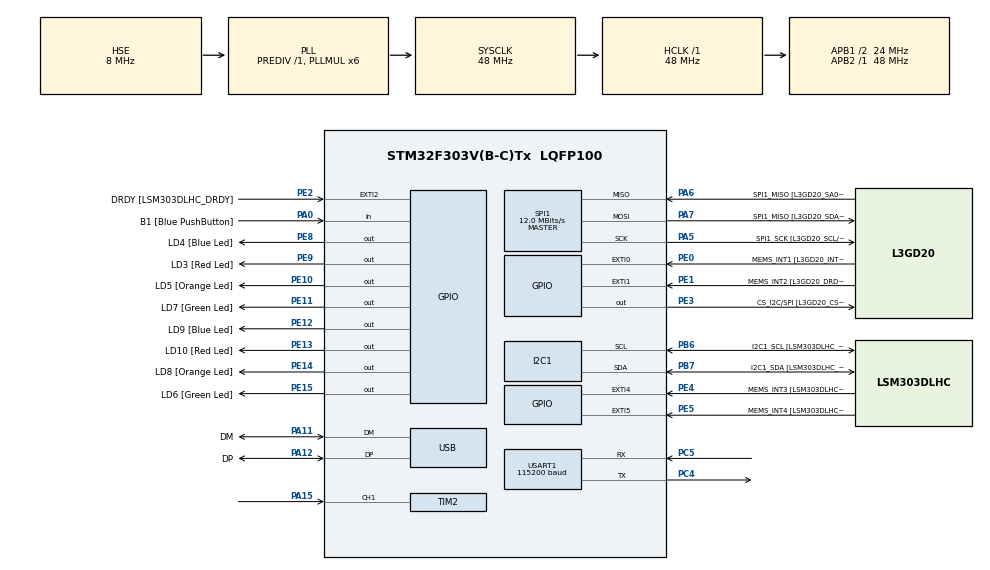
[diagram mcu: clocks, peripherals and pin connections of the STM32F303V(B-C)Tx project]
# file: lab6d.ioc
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I2C1.Timing=0x2000090E
I2C1.Timing-I2C=0x2000090E
Mcu.Family=STM32F3
Mcu.Name=STM32F303V(B-C)Tx
Mcu.Package=LQFP100
NVIC.PriorityGroup=NVIC_PRIORITYGROUP_0
NVIC.TIM2_IRQn=true\:0\:0\:false\:false\:true\:true\:true\:true
PA0.GPIO_Label=B1 [Blue PushButton]
PA0.Signal=GPIO_Input
PA11.GPIO_Label=DM
PA11.Mode=Device
PA11.Signal=USB_DM
PA12.GPIO_Label=DP
PA12.Mode=Device
PA12.Signal=USB_DP
PA13.GPIO_Label=SWDIO
PA13.Mode=Serial_Wire
PA13.Signal=SYS_JTMS-SWDIO
PA14.GPIO_Label=SWCLK
PA14.Mode=Serial_Wire
PA14.Signal=SYS_JTCK-SWCLK
PA15.Signal=S_TIM2_CH1_ETR
PA5.GPIO_Label=SPI1_SCK [L3GD20_SCL/SPC]
PA5.Mode=Full_Duplex_Master
PA5.Signal=SPI1_SCK
PA6.GPIO_Label=SPI1_MISO [L3GD20_SA0/SDO]
PA6.Mode=Full_Duplex_Master
PA6.Signal=SPI1_MISO
PA7.GPIO_Label=SPI1_MISO [L3GD20_SDA/SDI/SDO]
PA7.Mode=Full_Duplex_Master
PA7.Signal=SPI1_MOSI
PB3.GPIO_Label=SWO
PB3.Signal=SYS_JTDO-TRACESWO
PB6.GPIO_Label=I2C1_SCL [LSM303DLHC_SCL]
PB6.GPIO_Pu=GPIO_PULLUP
PB6.Mode=I2C
PB6.Signal=I2C1_SCL
PB7.GPIO_Label=I2C1_SDA [LSM303DLHC_SDA]
PB7.GPIO_Pu=GPIO_PULLUP
PB7.Mode=I2C
PB7.Signal=I2C1_SDA
PC14-OSC32_IN.GPIO_Label=OSC32_IN
PC14-OSC32_IN.Signal=RCC_OSC32_IN
PC15-OSC32_OUT.GPIO_Label=OSC32_OUT
PC15-OSC32_OUT.Signal=RCC_OSC32_OUT
PC4.Mode=Asynchronous
PC4.Signal=USART1_TX
PC5.Mode=Asynchronous
PC5.Signal=USART1_RX
PE0.GPIO_Label=MEMS_INT1 [L3GD20_INT1]
PE0.GPIO_ModeDefaultEXTI=GPIO_MODE_EVT_RISING
PE0.Signal=GPXTI0
PE1.GPIO_Label=MEMS_INT2 [L3GD20_DRDY/INT2]
PE1.GPIO_ModeDefaultEXTI=GPIO_MODE_EVT_RISING
PE1.Signal=GPXTI1
PE10.GPIO_Label=LD5 [Orange Led]
PE10.Signal=GPIO_Output
PE11.GPIO_Label=LD7 [Green Led]
PE11.Signal=GPIO_Output
PE12.GPIO_Label=LD9 [Blue Led]
PE12.Signal=GPIO_Output
PE13.GPIO_Label=LD10 [Red Led]
PE13.Signal=GPIO_Output
PE14.GPIO_Label=LD8 [Orange Led]
PE14.Signal=GPIO_Output
PE15.GPIO_Label=LD6 [Green Led]
PE15.Signal=GPIO_Output
PE2.GPIO_Label=DRDY [LSM303DLHC_DRDY]
PE2.GPIO_ModeDefaultEXTI=GPIO_MODE_EVT_RISING
PE2.Signal=GPXTI2
PE3.GPIO_Label=CS_I2C/SPI [L3GD20_CS_I2C/SPI]
PE3.Signal=GPIO_Output
PE4.GPIO_Label=MEMS_INT3 [LSM303DLHC_INT1]
PE4.GPIO_ModeDefaultEXTI=GPIO_MODE_EVT_RISING
PE4.Signal=GPXTI4
PE5.GPIO_Label=MEMS_INT4 [LSM303DLHC_INT2]
PE5.GPIO_ModeDefaultEXTI=GPIO_MODE_EVT_RISING
PE5.Signal=GPXTI5
PE8.GPIO_Label=LD4 [Blue Led]
PE8.Signal=GPIO_Output
PE9.GPIO_Label=LD3 [Red Led]
PE9.Signal=GPIO_Output
PF0-OSC_IN.GPIO_Label=OSC_IN
PF0-OSC_IN.Mode=HSE-External-Clock-Source
PF0-OSC_IN.Signal=RCC_OSC_IN
PF1-OSC_OUT.GPIO_Label=OSC_OUT
PF1-OSC_OUT.Signal=RCC_OSC_OUT
ProjectManager.HeapSize=0x200
ProjectManager.StackSize=0x400
ProjectManager.TargetToolchain=CMake
RCC.AHBFreq_Value=48000000
RCC.APB1CLKDivider=RCC_HCLK_DIV2
RCC.APB1Freq_Value=24000000
RCC.APB1TimFreq_Value=48000000
RCC.APB2Freq_Value=48000000
RCC.APB2TimFreq_Value=48000000
RCC.CortexFreq_Value=48000000
RCC.HCLKFreq_Value=48000000
RCC.HSE_VALUE=8000000
RCC.HSI_VALUE=8000000
RCC.LSE_VALUE=32768
RCC.PLLMUL=RCC_PLL_MUL6
RCC.SYSCLKFreq_VALUE=48000000
RCC.SYSCLKSourceVirtual=RCC_SYSCLKSOURCE_PLLCLK
RCC.USBFreq_Value=48000000
SH.S_TIM2_CH1_ETR.0=TIM2_CH1,Input_Capture1_from_TI1
SPI1.BaudRatePrescaler=SPI_BAUDRATEPRESCALER_4
SPI1.BaudRatePrescaler-Full_Duplex_Master=SPI_BAUDRATEPRESCALER_2
SPI1.CalculateBaudRate=12.0 MBits/s
SPI1.CalculateBaudRate-Full_Duplex_Master=24.0 MBits/s
SPI1.Direction=SPI_DIRECTION_2LINES
SPI1.Mode=SPI_MODE_MASTER
SPI1.Mode-Full_Duplex_Master=SPI_MODE_MASTER
SPI1.VirtualType=VM_MASTER
TIM2.Channel-Input_Capture1_from_TI1=TIM_CHANNEL_1
TIM2.Prescaler=71
USART1.BaudRate=115200
USART1.VirtualMode-Asynchronous=VM_ASYNC
board=STM32F3DISCOVERY

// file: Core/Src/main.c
/* USER CODE BEGIN Header */
/**
  ******************************************************************************
  * @file           : main.c
  * @brief          : Main program body
  ******************************************************************************
  * @attention
  *
  * Copyright (c) 2026 STMicroelectronics.
  * All rights reserved.
  *
  * This software is licensed under terms that can be found in the LICENSE file
  * in the root directory of this software component.
  * If no LICENSE file comes with this software, it is provided AS-IS.
  *
  ******************************************************************************
  */
/* USER CODE END Header */
#include "main.h"

/* USER CODE BEGIN Includes */
#include <stdio.h>
#include "string.h"
/* USER CODE END Includes */

/* USER CODE BEGIN PD */
#define SAMPLES 10
#define PPR 330
/* USER CODE END PD */

I2C_HandleTypeDef hi2c1;

SPI_HandleTypeDef hspi1;

TIM_HandleTypeDef htim2;

UART_HandleTypeDef huart1;

PCD_HandleTypeDef hpcd_USB_FS;

/* USER CODE BEGIN PV */
uint32_t averagePeriod = 0;
uint32_t frequency = 0;
uint32_t rpm = 0;
volatile uint32_t last_captured_value = 0;
volatile uint32_t captured_period = 0;
volatile uint8_t sample_count = 0;
volatile uint64_t period_sum = 0;
volatile uint8_t print_flag = 0;
/* USER CODE END PV */

void SystemClock_Config(void);
static void MX_GPIO_Init(void);
static void MX_I2C1_Init(void);
static void MX_SPI1_Init(void);
static void MX_TIM2_Init(void);
static void MX_USART1_UART_Init(void);
static void MX_USB_PCD_Init(void);

/* USER CODE BEGIN 0 */
int _write(int file, char *ptr, int len)
{
    HAL_UART_Transmit(&huart1, (uint8_t *)ptr, len, HAL_MAX_DELAY);
    return len;
}

void HAL_TIM_IC_CaptureCallback(TIM_HandleTypeDef *htim) {
    if (htim->Instance == TIM2) {
        uint32_t current_capture = HAL_TIM_ReadCapturedValue(htim, TIM_CHANNEL_1);
        if (last_captured_value != 0) {
            if (current_capture >= last_captured_value) captured_period = current_capture - last_captured_value;
            period_sum += captured_period;
            sample_count++;
            if (sample_count >= SAMPLES) {
                averagePeriod = period_sum / SAMPLES;
                period_sum = 0;
                sample_count = 0;
                print_flag = 1;
            }
        }
        last_captured_value = current_capture;
    }
}
/* USER CODE END 0 */

int main(void)
{

  /* MCU Configuration--------------------------------------------------------*/

  /* Reset of all peripherals, Initializes the Flash interface and the Systick. */
  HAL_Init();

  /* Configure the system clock */
  SystemClock_Config();

  /* Initialize all configured peripherals */
  MX_GPIO_Init();
  MX_I2C1_Init();
  MX_SPI1_Init();
  MX_TIM2_Init();
  MX_USART1_UART_Init();
  MX_USB_PCD_Init();
  /* USER CODE BEGIN 2 */
  HAL_TIM_IC_Start_IT(&htim2, TIM_CHANNEL_1);
  /* USER CODE END 2 */

  /* Infinite loop */
  /* USER CODE BEGIN WHILE */
  while (1)
  {
    if (print_flag) {
        print_flag = 0;
        if (averagePeriod != 0) {
            frequency = 666667 / averagePeriod;
            rpm = (60 * frequency) / PPR;
            printf("Average Period: %d us\r\n", (int) averagePeriod);
            printf("Frequency: %d Hz\r\n", (int)frequency);
            printf("RPM: %d\r\n",(int) rpm);
        }
    }
    /* USER CODE END WHILE */

  }
}

void SystemClock_Config(void)
{
  RCC_OscInitTypeDef RCC_OscInitStruct = {0};
  RCC_ClkInitTypeDef RCC_ClkInitStruct = {0};
  RCC_PeriphCLKInitTypeDef PeriphClkInit = {0};

  /** Initializes the RCC Oscillators according to the specified parameters
  * in the RCC_OscInitTypeDef structure.
  */
  RCC_OscInitStruct.OscillatorType = RCC_OSCILLATORTYPE_HSI|RCC_OSCILLATORTYPE_HSE;
  RCC_OscInitStruct.HSEState = RCC_HSE_BYPASS;
  RCC_OscInitStruct.HSEPredivValue = RCC_HSE_PREDIV_DIV1;
  RCC_OscInitStruct.HSIState = RCC_HSI_ON;
  RCC_OscInitStruct.HSICalibrationValue = RCC_HSICALIBRATION_DEFAULT;
  RCC_OscInitStruct.PLL.PLLState = RCC_PLL_ON;
  RCC_OscInitStruct.PLL.PLLSource = RCC_PLLSOURCE_HSE;
  RCC_OscInitStruct.PLL.PLLMUL = RCC_PLL_MUL6;
  if (HAL_RCC_OscConfig(&RCC_OscInitStruct) != HAL_OK)
  {
    Error_Handler();
  }

  /** Initializes the CPU, AHB and APB buses clocks
  */
  RCC_ClkInitStruct.ClockType = RCC_CLOCKTYPE_HCLK|RCC_CLOCKTYPE_SYSCLK
                              |RCC_CLOCKTYPE_PCLK1|RCC_CLOCKTYPE_PCLK2;
  RCC_ClkInitStruct.SYSCLKSource = RCC_SYSCLKSOURCE_PLLCLK;
  RCC_ClkInitStruct.AHBCLKDivider = RCC_SYSCLK_DIV1;
  RCC_ClkInitStruct.APB1CLKDivider = RCC_HCLK_DIV2;
  RCC_ClkInitStruct.APB2CLKDivider = RCC_HCLK_DIV1;

  if (HAL_RCC_ClockConfig(&RCC_ClkInitStruct, FLASH_LATENCY_1) != HAL_OK)
  {
    Error_Handler();
  }
  PeriphClkInit.PeriphClockSelection = RCC_PERIPHCLK_USB|RCC_PERIPHCLK_USART1
                              |RCC_PERIPHCLK_I2C1;
  PeriphClkInit.Usart1ClockSelection = RCC_USART1CLKSOURCE_PCLK2;
  PeriphClkInit.I2c1ClockSelection = RCC_I2C1CLKSOURCE_HSI;
  PeriphClkInit.USBClockSelection = RCC_USBCLKSOURCE_PLL;
  if (HAL_RCCEx_PeriphCLKConfig(&PeriphClkInit) != HAL_OK)
  {
    Error_Handler();
  }
}

static void MX_I2C1_Init(void)
{

  hi2c1.Instance = I2C1;
  hi2c1.Init.Timing = 0x2000090E;
  hi2c1.Init.OwnAddress1 = 0;
  hi2c1.Init.AddressingMode = I2C_ADDRESSINGMODE_7BIT;
  hi2c1.Init.DualAddressMode = I2C_DUALADDRESS_DISABLE;
  hi2c1.Init.OwnAddress2 = 0;
  hi2c1.Init.OwnAddress2Masks = I2C_OA2_NOMASK;
  hi2c1.Init.GeneralCallMode = I2C_GENERALCALL_DISABLE;
  hi2c1.Init.NoStretchMode = I2C_NOSTRETCH_DISABLE;
  if (HAL_I2C_Init(&hi2c1) != HAL_OK)
  {
    Error_Handler();
  }

  /** Configure Analogue filter
  */
  if (HAL_I2CEx_ConfigAnalogFilter(&hi2c1, I2C_ANALOGFILTER_ENABLE) != HAL_OK)
  {
    Error_Handler();
  }

  /** Configure Digital filter
  */
  if (HAL_I2CEx_ConfigDigitalFilter(&hi2c1, 0) != HAL_OK)
  {
    Error_Handler();
  }

}

static void MX_SPI1_Init(void)
{

  /* SPI1 parameter configuration*/
  hspi1.Instance = SPI1;
  hspi1.Init.Mode = SPI_MODE_MASTER;
  hspi1.Init.Direction = SPI_DIRECTION_2LINES;
  hspi1.Init.DataSize = SPI_DATASIZE_4BIT;
  hspi1.Init.CLKPolarity = SPI_POLARITY_LOW;
  hspi1.Init.CLKPhase = SPI_PHASE_1EDGE;
  hspi1.Init.NSS = SPI_NSS_SOFT;
  hspi1.Init.BaudRatePrescaler = SPI_BAUDRATEPRESCALER_4;
  hspi1.Init.FirstBit = SPI_FIRSTBIT_MSB;
  hspi1.Init.TIMode = SPI_TIMODE_DISABLE;
  hspi1.Init.CRCCalculation = SPI_CRCCALCULATION_DISABLE;
  hspi1.Init.CRCPolynomial = 7;
  hspi1.Init.CRCLength = SPI_CRC_LENGTH_DATASIZE;
  hspi1.Init.NSSPMode = SPI_NSS_PULSE_ENABLE;
  if (HAL_SPI_Init(&hspi1) != HAL_OK)
  {
    Error_Handler();
  }

}

static void MX_TIM2_Init(void)
{

  TIM_MasterConfigTypeDef sMasterConfig = {0};
  TIM_IC_InitTypeDef sConfigIC = {0};

  htim2.Instance = TIM2;
  htim2.Init.Prescaler = 71;
  htim2.Init.CounterMode = TIM_COUNTERMODE_UP;
  htim2.Init.Period = 4294967295;
  htim2.Init.ClockDivision = TIM_CLOCKDIVISION_DIV1;
  htim2.Init.AutoReloadPreload = TIM_AUTORELOAD_PRELOAD_DISABLE;
  if (HAL_TIM_IC_Init(&htim2) != HAL_OK)
  {
    Error_Handler();
  }
  sMasterConfig.MasterOutputTrigger = TIM_TRGO_RESET;
  sMasterConfig.MasterSlaveMode = TIM_MASTERSLAVEMODE_DISABLE;
  if (HAL_TIMEx_MasterConfigSynchronization(&htim2, &sMasterConfig) != HAL_OK)
  {
    Error_Handler();
  }
  sConfigIC.ICPolarity = TIM_INPUTCHANNELPOLARITY_RISING;
  sConfigIC.ICSelection = TIM_ICSELECTION_DIRECTTI;
  sConfigIC.ICPrescaler = TIM_ICPSC_DIV1;
  sConfigIC.ICFilter = 0;
  if (HAL_TIM_IC_ConfigChannel(&htim2, &sConfigIC, TIM_CHANNEL_1) != HAL_OK)
  {
    Error_Handler();
  }

}

static void MX_USART1_UART_Init(void)
{

  huart1.Instance = USART1;
  huart1.Init.BaudRate = 115200;
  huart1.Init.WordLength = UART_WORDLENGTH_8B;
  huart1.Init.StopBits = UART_STOPBITS_1;
  huart1.Init.Parity = UART_PARITY_NONE;
  huart1.Init.Mode = UART_MODE_TX_RX;
  huart1.Init.HwFlowCtl = UART_HWCONTROL_NONE;
  huart1.Init.OverSampling = UART_OVERSAMPLING_16;
  huart1.Init.OneBitSampling = UART_ONE_BIT_SAMPLE_DISABLE;
  huart1.AdvancedInit.AdvFeatureInit = UART_ADVFEATURE_NO_INIT;
  if (HAL_UART_Init(&huart1) != HAL_OK)
  {
    Error_Handler();
  }

}

static void MX_USB_PCD_Init(void)
{

  hpcd_USB_FS.Instance = USB;
  hpcd_USB_FS.Init.dev_endpoints = 8;
  hpcd_USB_FS.Init.speed = PCD_SPEED_FULL;
  hpcd_USB_FS.Init.phy_itface = PCD_PHY_EMBEDDED;
  hpcd_USB_FS.Init.low_power_enable = DISABLE;
  hpcd_USB_FS.Init.battery_charging_enable = DISABLE;
  if (HAL_PCD_Init(&hpcd_USB_FS) != HAL_OK)
  {
    Error_Handler();
  }

}

static void MX_GPIO_Init(void)
{
  GPIO_InitTypeDef GPIO_InitStruct = {0};

  /* GPIO Ports Clock Enable */
  __HAL_RCC_GPIOE_CLK_ENABLE();
  __HAL_RCC_GPIOC_CLK_ENABLE();
  __HAL_RCC_GPIOF_CLK_ENABLE();
  __HAL_RCC_GPIOA_CLK_ENABLE();
  __HAL_RCC_GPIOB_CLK_ENABLE();

  /*Configure GPIO pin Output Level */
  HAL_GPIO_WritePin(GPIOE, CS_I2C_SPI_Pin|LD4_Pin|LD3_Pin|LD5_Pin
                          |LD7_Pin|LD9_Pin|LD10_Pin|LD8_Pin
                          |LD6_Pin, GPIO_PIN_RESET);

  /*Configure GPIO pins : DRDY_Pin MEMS_INT3_Pin MEMS_INT4_Pin MEMS_INT1_Pin
                           MEMS_INT2_Pin */
  GPIO_InitStruct.Pin = DRDY_Pin|MEMS_INT3_Pin|MEMS_INT4_Pin|MEMS_INT1_Pin
                          |MEMS_INT2_Pin;
  GPIO_InitStruct.Mode = GPIO_MODE_EVT_RISING;
  GPIO_InitStruct.Pull = GPIO_NOPULL;
  HAL_GPIO_Init(GPIOE, &GPIO_InitStruct);

  /*Configure GPIO pins : CS_I2C_SPI_Pin LD4_Pin LD3_Pin LD5_Pin
                           LD7_Pin LD9_Pin LD10_Pin LD8_Pin
                           LD6_Pin */
  GPIO_InitStruct.Pin = CS_I2C_SPI_Pin|LD4_Pin|LD3_Pin|LD5_Pin
                          |LD7_Pin|LD9_Pin|LD10_Pin|LD8_Pin
                          |LD6_Pin;
  GPIO_InitStruct.Mode = GPIO_MODE_OUTPUT_PP;
  GPIO_InitStruct.Pull = GPIO_NOPULL;
  GPIO_InitStruct.Speed = GPIO_SPEED_FREQ_LOW;
  HAL_GPIO_Init(GPIOE, &GPIO_InitStruct);

  /*Configure GPIO pin : B1_Pin */
  GPIO_InitStruct.Pin = B1_Pin;
  GPIO_InitStruct.Mode = GPIO_MODE_INPUT;
  GPIO_InitStruct.Pull = GPIO_NOPULL;
  HAL_GPIO_Init(B1_GPIO_Port, &GPIO_InitStruct);

}

void Error_Handler(void)
{
  __disable_irq();
  while (1)
  {
  }
}
